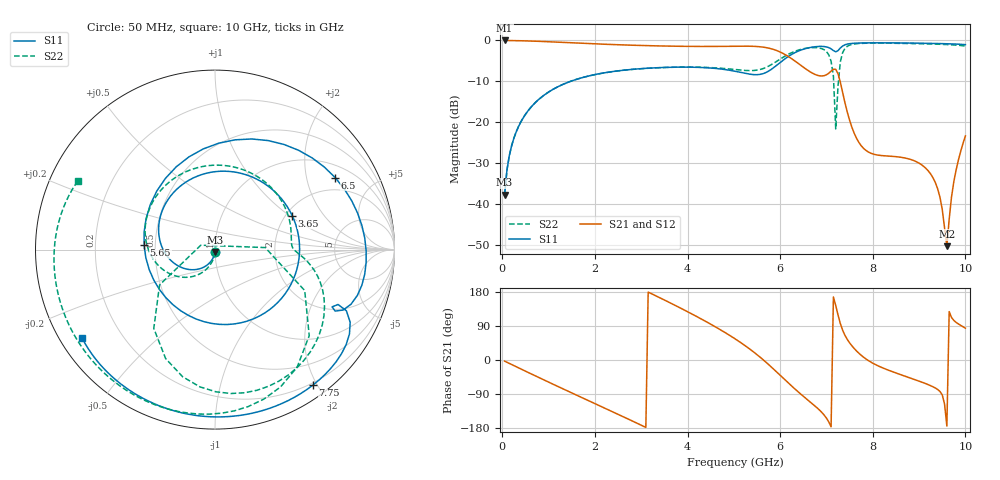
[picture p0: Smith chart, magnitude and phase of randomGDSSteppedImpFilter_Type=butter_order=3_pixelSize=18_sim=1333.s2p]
! freq	dB(S11)	phase(S11)	dB(S12)	phase(S12)
!  dB(S21)	phase(S21)	dB(S22)	phase(S22)
!S-par simulation data
#  GHz  S  DB  R 50
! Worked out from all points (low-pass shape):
!   200 points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, 50 MHz to 10 GHz, reference 50 ohm
!   highest |S21| = -0.01 dB at 50 MHz (marker M1); lowest = -50.3 dB at 9.6 GHz (marker M2)
!   |S21| within 3 dB of the highest: start of sweep to 6.032 GHz
!   lowest |S11| = -37.7 dB at 50 MHz (marker M3), VSWR 1.03, Z = 49.9 - j1.29 ohm
!   |S11| at or under -10 dB: start of sweep to 1.475 GHz
!   |S22| runs from -37.8 to -0.7 dB; largest |S21 - S12| = 0
!   S11 on the Smith chart (normalised r, x): 50 MHz: 1.00, -0.03; 3.65 GHz: 2.16, +1.05; 5.65 GHz: 0.43, +0.02; 6.5 GHz: 1.45, +2.97; 7.75 GHz: 0.17, -1.94; 10 GHz: 0.06, -0.30
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0.05  -37.74 -93.0  -0.01 -3.0  -0.01 -3.0  -37.77 -92.2
0.2  -25.83 -104.1  -0.03 -11.9  -0.03 -11.9  -25.82 -99.9
0.5  -18.09 -125.1  -0.11 -29.4  -0.11 -29.4  -18.08 -114.8
1.75  -9.02 150.0  -0.71 -101.0  -0.71 -101.0  -9.02 -173.4
2.65  -7.24 89.9  -1.11 -151.9  -1.11 -151.9  -7.25 145.1
3.4  -6.65 40.3  -1.35 164.4  -1.35 164.4  -6.66 107.7
3.65  -6.56 23.8  -1.40 149.3  -1.40 149.3  -6.57 94.3
4.4  -6.67 -28.1  -1.48 101.4  -1.48 101.4  -6.60 51.5
5.05  -7.59 -86.6  -1.41 54.0  -1.41 54.0  -7.14 16.3
5.65  -8.05 176.5  -1.66 -1.1  -1.66 -1.1  -6.81 -1.9
6.1  -4.53 87.9  -3.41 -51.9  -3.41 -51.9  -3.87 -20.6
6.5  -2.15 30.9  -6.54 -95.6  -6.54 -95.6  -2.03 -51.2
6.7  -1.62 9.3  -8.02 -116.0  -8.02 -116.0  -1.75 -68.6
7.1  -2.05 -25.2  -7.51 -176.3  -7.51 -176.3  -5.10 -127.8
7.2  -2.78 -26.1  -7.07 143.9  -7.07 143.9  -21.64 162.7
7.35  -1.36 -28.3  -12.78 78.4  -12.78 78.4  -2.96 -42.4
7.75  -0.62 -54.2  -25.75 12.5  -25.75 12.5  -0.72 -95.6
8.35  -0.59 -81.5  -28.30 -27.5  -28.30 -27.5  -0.68 -129.0
9.25  -0.72 -115.7  -32.67 -67.8  -32.67 -67.8  -0.86 -168.6
9.6  -0.81 -129.0  -50.33 -174.2  -50.33 -174.2  -1.01 175.4
9.75  -0.87 -135.2  -34.55 104.6  -34.55 104.6  -1.10 167.8
10  -1.02 -146.6  -23.36 83.9  -23.36 83.9  -1.36 153.4
